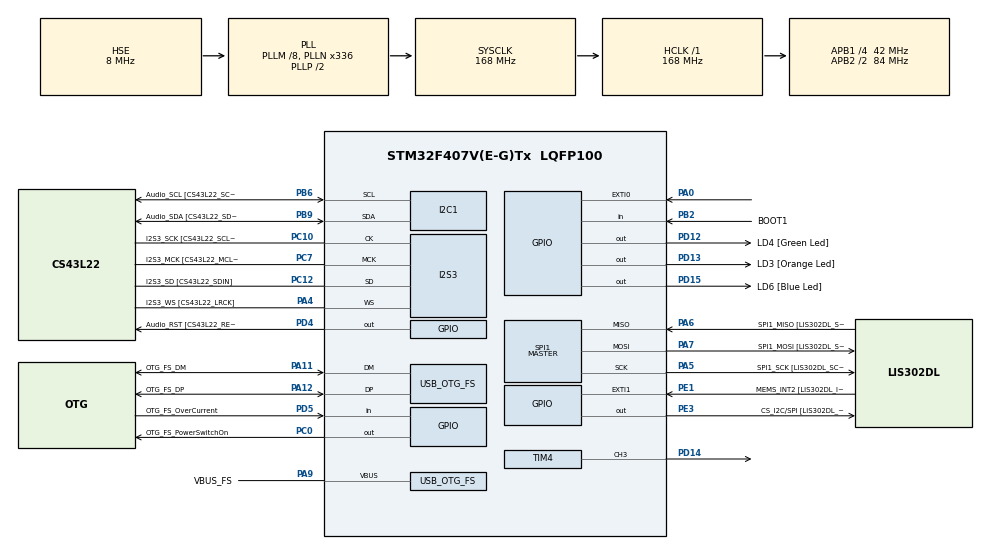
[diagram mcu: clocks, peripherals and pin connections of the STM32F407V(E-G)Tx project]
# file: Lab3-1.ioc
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I2S3.AudioFreq-Half_Duplex_Master=I2S_AUDIOFREQ_96K
I2S3.ErrorAudioFreq=-2.34 %
I2S3.ErrorAudioFreq-Half_Duplex_Master=0.8 %
I2S3.FullDuplexMode=I2S_FULLDUPLEXMODE_DISABLE
I2S3.Instance=SPI$Index
I2S3.RealAudioFreq=93.75 KHz
I2S3.RealAudioFreq-Half_Duplex_Master=96.774 KHz
I2S3.VirtualMode=I2S_MODE_MASTER
Mcu.Family=STM32F4
Mcu.Name=STM32F407V(E-G)Tx
Mcu.Package=LQFP100
NVIC.EXTI0_IRQn=true\:7\:0\:true\:false\:true\:true\:true
NVIC.OTG_FS_IRQn=true\:0\:0\:false\:false\:true\:true\:true
NVIC.PriorityGroup=NVIC_PRIORITYGROUP_3
PA0-WKUP.Signal=GPXTI0
PA10.GPIO_Label=OTG_FS_ID
PA10.GPIO_Mode=GPIO_MODE_AF_PP
PA10.GPIO_PuPd=GPIO_NOPULL
PA10.GPIO_Speed=GPIO_SPEED_FREQ_LOW
PA10.Signal=USB_OTG_FS_ID
PA11.GPIO_Label=OTG_FS_DM
PA11.GPIO_Mode=GPIO_MODE_AF_PP
PA11.GPIO_PuPd=GPIO_NOPULL
PA11.GPIO_Speed=GPIO_SPEED_FREQ_LOW
PA11.Mode=Host_Only
PA11.Signal=USB_OTG_FS_DM
PA12.GPIO_Label=OTG_FS_DP
PA12.GPIO_Mode=GPIO_MODE_AF_PP
PA12.GPIO_PuPd=GPIO_NOPULL
PA12.GPIO_Speed=GPIO_SPEED_FREQ_LOW
PA12.Mode=Host_Only
PA12.Signal=USB_OTG_FS_DP
PA13.GPIO_Label=SWDIO
PA13.Mode=Serial_Wire
PA13.Signal=SYS_JTMS-SWDIO
PA14.GPIO_Label=SWCLK
PA14.Mode=Serial_Wire
PA14.Signal=SYS_JTCK-SWCLK
PA4.GPIO_Label=I2S3_WS [CS43L22_LRCK]
PA4.GPIO_Mode=GPIO_MODE_AF_PP
PA4.GPIO_PuPd=GPIO_NOPULL
PA4.GPIO_Speed=GPIO_SPEED_FREQ_LOW
PA4.Mode=Half_Duplex_Master
PA4.Signal=I2S3_WS
PA5.GPIO_Label=SPI1_SCK [LIS302DL_SCL/SPC]
PA5.GPIO_Mode=GPIO_MODE_AF_PP
PA5.GPIO_PuPd=GPIO_NOPULL
PA5.GPIO_Speed=GPIO_SPEED_FREQ_LOW
PA5.Mode=Full_Duplex_Master
PA5.Signal=SPI1_SCK
PA6.GPIO_Label=SPI1_MISO [LIS302DL_SDO]
PA6.GPIO_Mode=GPIO_MODE_AF_PP
PA6.GPIO_PuPd=GPIO_NOPULL
PA6.GPIO_Speed=GPIO_SPEED_FREQ_LOW
PA6.Mode=Full_Duplex_Master
PA6.Signal=SPI1_MISO
PA7.GPIO_Label=SPI1_MOSI [LIS302DL_SDA/SDI/SDO]
PA7.GPIO_Mode=GPIO_MODE_AF_PP
PA7.GPIO_PuPd=GPIO_NOPULL
PA7.GPIO_Speed=GPIO_SPEED_FREQ_LOW
PA7.Mode=Full_Duplex_Master
PA7.Signal=SPI1_MOSI
PA9.GPIO_Label=VBUS_FS
PA9.GPIO_Mode=GPIO_MODE_INPUT
PA9.GPIO_PuPd=GPIO_NOPULL
PA9.Mode=Activate_VBUS
PA9.Signal=USB_OTG_FS_VBUS
PB10.GPIO_Label=CLK_IN [MP45DT02_CLK]
PB10.GPIO_Mode=GPIO_MODE_AF_PP
PB10.GPIO_PuPd=GPIO_NOPULL
PB10.GPIO_Speed=GPIO_SPEED_FREQ_LOW
PB10.Signal=I2S2_CK
PB2.GPIO_Label=BOOT1
PB2.GPIO_Mode=GPIO_MODE_INPUT
PB2.GPIO_PuPd=GPIO_NOPULL
PB2.Signal=GPIO_Input
PB3.GPIO_Label=SWO
PB3.Signal=SYS_JTDO-SWO
PB6.GPIO_Label=Audio_SCL [CS43L22_SCL]
PB6.GPIO_Mode=GPIO_MODE_AF_OD
PB6.GPIO_PuPd=GPIO_NOPULL
PB6.GPIO_Speed=GPIO_SPEED_FREQ_LOW
PB6.Mode=I2C
PB6.Signal=I2C1_SCL
PB9.GPIO_Label=Audio_SDA [CS43L22_SDA]
PB9.GPIO_Mode=GPIO_MODE_AF_OD
PB9.GPIO_PuPd=GPIO_NOPULL
PB9.GPIO_Speed=GPIO_SPEED_FREQ_LOW
PB9.Mode=I2C
PB9.Signal=I2C1_SDA
PC0.GPIO_Label=OTG_FS_PowerSwitchOn
PC0.GPIO_PuPd=GPIO_NOPULL
PC0.GPIO_Speed=GPIO_SPEED_FREQ_LOW
PC0.PinState=GPIO_PIN_SET
PC0.Signal=GPIO_Output
PC10.GPIO_Label=I2S3_SCK [CS43L22_SCLK]
PC10.GPIO_Mode=GPIO_MODE_AF_PP
PC10.GPIO_PuPd=GPIO_NOPULL
PC10.GPIO_Speed=GPIO_SPEED_FREQ_LOW
PC10.Mode=Half_Duplex_Master
PC10.Signal=I2S3_CK
PC12.GPIO_Label=I2S3_SD [CS43L22_SDIN]
PC12.GPIO_Mode=GPIO_MODE_AF_PP
PC12.GPIO_PuPd=GPIO_NOPULL
PC12.GPIO_Speed=GPIO_SPEED_FREQ_LOW
PC12.Mode=Half_Duplex_Master
PC12.Signal=I2S3_SD
PC14-OSC32_IN.GPIO_Label=PC14-OSC32_IN
PC14-OSC32_IN.Mode=LSE-External-Oscillator
PC14-OSC32_IN.Signal=RCC_OSC32_IN
PC15-OSC32_OUT.GPIO_Label=PC15-OSC32_OUT
PC15-OSC32_OUT.Mode=LSE-External-Oscillator
PC15-OSC32_OUT.Signal=RCC_OSC32_OUT
PC3.GPIO_Label=PDM_OUT [MP45DT02_DOUT]
PC3.GPIO_Mode=GPIO_MODE_AF_PP
PC3.GPIO_PuPd=GPIO_NOPULL
PC3.GPIO_Speed=GPIO_SPEED_FREQ_LOW
PC3.Signal=I2S2_SD
PC7.GPIO_Label=I2S3_MCK [CS43L22_MCLK]
PC7.GPIO_Mode=GPIO_MODE_AF_PP
PC7.GPIO_PuPd=GPIO_NOPULL
PC7.GPIO_Speed=GPIO_SPEED_FREQ_LOW
PC7.Mode=Master_Clock_Activated
PC7.Signal=I2S3_MCK
PD12.GPIO_Label=LD4 [Green Led]
PD12.GPIO_PuPd=GPIO_NOPULL
PD12.GPIO_Speed=GPIO_SPEED_FREQ_LOW
PD12.Signal=GPIO_Output
PD13.GPIO_Label=LD3 [Orange Led]
PD13.GPIO_PuPd=GPIO_NOPULL
PD13.GPIO_Speed=GPIO_SPEED_FREQ_LOW
PD13.Signal=GPIO_Output
PD14.Signal=S_TIM4_CH3
PD15.GPIO_Label=LD6 [Blue Led]
PD15.GPIO_PuPd=GPIO_NOPULL
PD15.GPIO_Speed=GPIO_SPEED_FREQ_LOW
PD15.Signal=GPIO_Output
PD4.GPIO_Label=Audio_RST [CS43L22_RESET]
PD4.GPIO_PuPd=GPIO_NOPULL
PD4.GPIO_Speed=GPIO_SPEED_FREQ_LOW
PD4.Signal=GPIO_Output
PD5.GPIO_Label=OTG_FS_OverCurrent
PD5.GPIO_Mode=GPIO_MODE_INPUT
PD5.GPIO_PuPd=GPIO_NOPULL
PD5.Signal=GPIO_Input
PE1.GPIO_Label=MEMS_INT2 [LIS302DL_INT2]
PE1.GPIO_ModeDefaultEXTI=GPIO_MODE_EVT_RISING
PE1.GPIO_PuPd=GPIO_NOPULL
PE1.Signal=GPXTI1
PE3.GPIO_Label=CS_I2C/SPI [LIS302DL_CS_I2C/SPI]
PE3.GPIO_PuPd=GPIO_NOPULL
PE3.GPIO_Speed=GPIO_SPEED_FREQ_LOW
PE3.Signal=GPIO_Output
PH0-OSC_IN.GPIO_Label=PH0-OSC_IN
PH0-OSC_IN.Mode=HSE-External-Oscillator
PH0-OSC_IN.Signal=RCC_OSC_IN
PH1-OSC_OUT.GPIO_Label=PH1-OSC_OUT
PH1-OSC_OUT.Mode=HSE-External-Oscillator
PH1-OSC_OUT.Signal=RCC_OSC_OUT
ProjectManager.HeapSize=0x200
ProjectManager.StackSize=0x400
ProjectManager.TargetToolchain=STM32CubeIDE
RCC.48MHZClocksFreq_Value=48000000
RCC.AHBFreq_Value=168000000
RCC.APB1CLKDivider=RCC_HCLK_DIV4
RCC.APB1Freq_Value=42000000
RCC.APB1TimFreq_Value=84000000
RCC.APB2CLKDivider=RCC_HCLK_DIV2
RCC.APB2Freq_Value=84000000
RCC.APB2TimFreq_Value=168000000
RCC.CortexFreq_Value=168000000
RCC.HCLKFreq_Value=168000000
RCC.HSE_VALUE=8000000
RCC.HSI_VALUE=16000000
RCC.PLLM=8
RCC.PLLN=336
RCC.PLLQ=7
RCC.SYSCLKFreq_VALUE=168000000
RCC.SYSCLKSource=RCC_SYSCLKSOURCE_PLLCLK
RCC.VCOOutputFreq_Value=336000000
SH.S_TIM4_CH3.0=TIM4_CH3,PWM Generation3 CH3
SPI1.BaudRatePrescaler-Full_Duplex_Master=SPI_BAUDRATEPRESCALER_2
SPI1.CalculateBaudRate-Full_Duplex_Master=42.0 MBits/s
SPI1.Direction=SPI_DIRECTION_2LINES
SPI1.Mode=SPI_MODE_MASTER
SPI1.Mode-Full_Duplex_Master=SPI_MODE_MASTER
SPI1.VirtualType=VM_MASTER
TIM4.AutoReloadPreload=TIM_AUTORELOAD_PRELOAD_ENABLE
TIM4.Channel-PWM\ Generation3\ CH3=TIM_CHANNEL_3
TIM4.Period=55999
TIM4.Prescaler=5999
TIM4.Pulse-PWM\ Generation3\ CH3=30000
USB_HOST.BSP.number=1
USB_HOST.USBH_HandleTypeDef-CDC_FS=hUsbHostFS
USB_HOST.VirtualModeFS=Cdc
USB_HOST0.BSP.STBoard=false
USB_HOST0.BSP.api=Unknown
USB_HOST0.BSP.i2caddr=0
USB_HOST0.BSP.i2creg=0
USB_HOST0.BSP.instance=PC0
USB_HOST0.BSP.ip=GPIO
USB_HOST0.BSP.mode=Output
USB_HOST0.BSP.name=Drive_VBUS_FS
USB_HOST0.BSP.solution=PC0
USB_OTG_FS.VirtualMode=Host_Only
USB_OTG_FS.phy_itface=HCD_PHY_EMBEDDED
VP_TIM4_VS_ClockSourceINT.Mode=Internal
VP_USB_HOST_VS_USB_HOST_CDC_FS.Mode=CDC_FS
board=STM32F4DISCOVERY

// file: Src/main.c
/* USER CODE BEGIN Header */
/**
  ******************************************************************************
  * @file           : main.c
  * @brief          : Main program body
  ******************************************************************************
  * @attention
  *
  * <h2><center>&copy; Copyright (c) 2019 STMicroelectronics.
  * All rights reserved.</center></h2>
  *
  * This software component is licensed by ST under Ultimate Liberty license
  * SLA0044, the "License"; You may not use this file except in compliance with
  * the License. You may obtain a copy of the License at:
  *                             www.st.com/SLA0044
  *
  ******************************************************************************
  */
/* USER CODE END Header */

#include "main.h"
#include "usb_host.h"

I2C_HandleTypeDef hi2c1;

I2S_HandleTypeDef hi2s3;

SPI_HandleTypeDef hspi1;

TIM_HandleTypeDef htim4;

void SystemClock_Config(void);
static void MX_GPIO_Init(void);
static void MX_I2C1_Init(void);
static void MX_I2S3_Init(void);
static void MX_SPI1_Init(void);
static void MX_TIM4_Init(void);
void MX_USB_HOST_Process(void);

/* USER CODE BEGIN 0 */
void HAL_GPIO_EXTI_Callback(uint16_t GPIO_Pin)
{
  /* Prevent unused argument(s) compilation warning */
  UNUSED(GPIO_Pin);
  /* NOTE: This function Should not be modified, when the callback is needed,
           the HAL_GPIO_EXTI_Callback could be implemented in the user file
   */
  HAL_GPIO_TogglePin(GPIOD, GPIO_PIN_13);

  switch(TIM4->ARR){
  case 5599:
	  TIM4->ARR = 27999;
	  break;
  case 27999:
	  TIM4->ARR = 139999;
  	  break;
  case 139999:
	  TIM4->ARR = 5599;
	  break;
  default:
	  TIM4->ARR = 5599;
	  break;
  }

  TIM4->CNT = 0;
  HAL_Delay(100);
  __HAL_GPIO_EXTI_CLEAR_IT(GPIO_Pin);
  //HAL_TIM_PWM_Start(&htim4, TIM_CHANNEL_3);

//  for(int i=0; i<500; i++){
//
//  }

}
/* USER CODE END 0 */

int main(void)
{

  /* MCU Configuration--------------------------------------------------------*/

  /* Reset of all peripherals, Initializes the Flash interface and the Systick. */
  HAL_Init();

  /* Configure the system clock */
  SystemClock_Config();

  /* Initialize all configured peripherals */
  MX_GPIO_Init();
  MX_I2C1_Init();
  MX_I2S3_Init();
  MX_SPI1_Init();
  MX_USB_HOST_Init();
  MX_TIM4_Init();
  /* USER CODE BEGIN 2 */
//  HAL_TIM_Base_Start_IT(&htim4);
  HAL_TIM_PWM_Start(&htim4, TIM_CHANNEL_3);
  /* USER CODE END 2 */

  /* Infinite loop */
  while (1)
  {
    MX_USB_HOST_Process();

  }
}

void SystemClock_Config(void)
{
  RCC_OscInitTypeDef RCC_OscInitStruct = {0};
  RCC_ClkInitTypeDef RCC_ClkInitStruct = {0};
  RCC_PeriphCLKInitTypeDef PeriphClkInitStruct = {0};

  /** Configure the main internal regulator output voltage
  */
  __HAL_RCC_PWR_CLK_ENABLE();
  __HAL_PWR_VOLTAGESCALING_CONFIG(PWR_REGULATOR_VOLTAGE_SCALE1);
  /** Initializes the CPU, AHB and APB busses clocks
  */
  RCC_OscInitStruct.OscillatorType = RCC_OSCILLATORTYPE_HSE;
  RCC_OscInitStruct.HSEState = RCC_HSE_ON;
  RCC_OscInitStruct.PLL.PLLState = RCC_PLL_ON;
  RCC_OscInitStruct.PLL.PLLSource = RCC_PLLSOURCE_HSE;
  RCC_OscInitStruct.PLL.PLLM = 8;
  RCC_OscInitStruct.PLL.PLLN = 336;
  RCC_OscInitStruct.PLL.PLLP = RCC_PLLP_DIV2;
  RCC_OscInitStruct.PLL.PLLQ = 7;
  if (HAL_RCC_OscConfig(&RCC_OscInitStruct) != HAL_OK)
  {
    Error_Handler();
  }
  /** Initializes the CPU, AHB and APB busses clocks
  */
  RCC_ClkInitStruct.ClockType = RCC_CLOCKTYPE_HCLK|RCC_CLOCKTYPE_SYSCLK
                              |RCC_CLOCKTYPE_PCLK1|RCC_CLOCKTYPE_PCLK2;
  RCC_ClkInitStruct.SYSCLKSource = RCC_SYSCLKSOURCE_PLLCLK;
  RCC_ClkInitStruct.AHBCLKDivider = RCC_SYSCLK_DIV1;
  RCC_ClkInitStruct.APB1CLKDivider = RCC_HCLK_DIV4;
  RCC_ClkInitStruct.APB2CLKDivider = RCC_HCLK_DIV2;

  if (HAL_RCC_ClockConfig(&RCC_ClkInitStruct, FLASH_LATENCY_5) != HAL_OK)
  {
    Error_Handler();
  }
  PeriphClkInitStruct.PeriphClockSelection = RCC_PERIPHCLK_I2S;
  PeriphClkInitStruct.PLLI2S.PLLI2SN = 192;
  PeriphClkInitStruct.PLLI2S.PLLI2SR = 2;
  if (HAL_RCCEx_PeriphCLKConfig(&PeriphClkInitStruct) != HAL_OK)
  {
    Error_Handler();
  }
}

static void MX_I2C1_Init(void)
{

  hi2c1.Instance = I2C1;
  hi2c1.Init.ClockSpeed = 100000;
  hi2c1.Init.DutyCycle = I2C_DUTYCYCLE_2;
  hi2c1.Init.OwnAddress1 = 0;
  hi2c1.Init.AddressingMode = I2C_ADDRESSINGMODE_7BIT;
  hi2c1.Init.DualAddressMode = I2C_DUALADDRESS_DISABLE;
  hi2c1.Init.OwnAddress2 = 0;
  hi2c1.Init.GeneralCallMode = I2C_GENERALCALL_DISABLE;
  hi2c1.Init.NoStretchMode = I2C_NOSTRETCH_DISABLE;
  if (HAL_I2C_Init(&hi2c1) != HAL_OK)
  {
    Error_Handler();
  }

}

static void MX_I2S3_Init(void)
{

  hi2s3.Instance = SPI3;
  hi2s3.Init.Mode = I2S_MODE_MASTER_TX;
  hi2s3.Init.Standard = I2S_STANDARD_PHILIPS;
  hi2s3.Init.DataFormat = I2S_DATAFORMAT_16B;
  hi2s3.Init.MCLKOutput = I2S_MCLKOUTPUT_ENABLE;
  hi2s3.Init.AudioFreq = I2S_AUDIOFREQ_96K;
  hi2s3.Init.CPOL = I2S_CPOL_LOW;
  hi2s3.Init.ClockSource = I2S_CLOCK_PLL;
  hi2s3.Init.FullDuplexMode = I2S_FULLDUPLEXMODE_DISABLE;
  if (HAL_I2S_Init(&hi2s3) != HAL_OK)
  {
    Error_Handler();
  }

}

static void MX_SPI1_Init(void)
{

  /* SPI1 parameter configuration*/
  hspi1.Instance = SPI1;
  hspi1.Init.Mode = SPI_MODE_MASTER;
  hspi1.Init.Direction = SPI_DIRECTION_2LINES;
  hspi1.Init.DataSize = SPI_DATASIZE_8BIT;
  hspi1.Init.CLKPolarity = SPI_POLARITY_LOW;
  hspi1.Init.CLKPhase = SPI_PHASE_1EDGE;
  hspi1.Init.NSS = SPI_NSS_SOFT;
  hspi1.Init.BaudRatePrescaler = SPI_BAUDRATEPRESCALER_2;
  hspi1.Init.FirstBit = SPI_FIRSTBIT_MSB;
  hspi1.Init.TIMode = SPI_TIMODE_DISABLE;
  hspi1.Init.CRCCalculation = SPI_CRCCALCULATION_DISABLE;
  hspi1.Init.CRCPolynomial = 10;
  if (HAL_SPI_Init(&hspi1) != HAL_OK)
  {
    Error_Handler();
  }

}

static void MX_TIM4_Init(void)
{

  TIM_ClockConfigTypeDef sClockSourceConfig = {0};
  TIM_MasterConfigTypeDef sMasterConfig = {0};
  TIM_OC_InitTypeDef sConfigOC = {0};

  htim4.Instance = TIM4;
  htim4.Init.Prescaler = 5999;
  htim4.Init.CounterMode = TIM_COUNTERMODE_UP;
  htim4.Init.Period = 55999;
  htim4.Init.ClockDivision = TIM_CLOCKDIVISION_DIV1;
  htim4.Init.AutoReloadPreload = TIM_AUTORELOAD_PRELOAD_ENABLE;
  if (HAL_TIM_Base_Init(&htim4) != HAL_OK)
  {
    Error_Handler();
  }
  sClockSourceConfig.ClockSource = TIM_CLOCKSOURCE_INTERNAL;
  if (HAL_TIM_ConfigClockSource(&htim4, &sClockSourceConfig) != HAL_OK)
  {
    Error_Handler();
  }
  if (HAL_TIM_PWM_Init(&htim4) != HAL_OK)
  {
    Error_Handler();
  }
  sMasterConfig.MasterOutputTrigger = TIM_TRGO_RESET;
  sMasterConfig.MasterSlaveMode = TIM_MASTERSLAVEMODE_DISABLE;
  if (HAL_TIMEx_MasterConfigSynchronization(&htim4, &sMasterConfig) != HAL_OK)
  {
    Error_Handler();
  }
  sConfigOC.OCMode = TIM_OCMODE_PWM1;
  sConfigOC.Pulse = 30000;
  sConfigOC.OCPolarity = TIM_OCPOLARITY_HIGH;
  sConfigOC.OCFastMode = TIM_OCFAST_DISABLE;
  if (HAL_TIM_PWM_ConfigChannel(&htim4, &sConfigOC, TIM_CHANNEL_3) != HAL_OK)
  {
    Error_Handler();
  }
  HAL_TIM_MspPostInit(&htim4);

}

static void MX_GPIO_Init(void)
{
  GPIO_InitTypeDef GPIO_InitStruct = {0};

  /* GPIO Ports Clock Enable */
  __HAL_RCC_GPIOE_CLK_ENABLE();
  __HAL_RCC_GPIOC_CLK_ENABLE();
  __HAL_RCC_GPIOH_CLK_ENABLE();
  __HAL_RCC_GPIOA_CLK_ENABLE();
  __HAL_RCC_GPIOB_CLK_ENABLE();
  __HAL_RCC_GPIOD_CLK_ENABLE();

  /*Configure GPIO pin Output Level */
  HAL_GPIO_WritePin(CS_I2C_SPI_GPIO_Port, CS_I2C_SPI_Pin, GPIO_PIN_RESET);

  /*Configure GPIO pin Output Level */
  HAL_GPIO_WritePin(OTG_FS_PowerSwitchOn_GPIO_Port, OTG_FS_PowerSwitchOn_Pin, GPIO_PIN_SET);

  /*Configure GPIO pin Output Level */
  HAL_GPIO_WritePin(GPIOD, LD4_Pin|LD3_Pin|LD6_Pin|Audio_RST_Pin, GPIO_PIN_RESET);

  /*Configure GPIO pin : CS_I2C_SPI_Pin */
  GPIO_InitStruct.Pin = CS_I2C_SPI_Pin;
  GPIO_InitStruct.Mode = GPIO_MODE_OUTPUT_PP;
  GPIO_InitStruct.Pull = GPIO_NOPULL;
  GPIO_InitStruct.Speed = GPIO_SPEED_FREQ_LOW;
  HAL_GPIO_Init(CS_I2C_SPI_GPIO_Port, &GPIO_InitStruct);

  /*Configure GPIO pin : OTG_FS_PowerSwitchOn_Pin */
  GPIO_InitStruct.Pin = OTG_FS_PowerSwitchOn_Pin;
  GPIO_InitStruct.Mode = GPIO_MODE_OUTPUT_PP;
  GPIO_InitStruct.Pull = GPIO_NOPULL;
  GPIO_InitStruct.Speed = GPIO_SPEED_FREQ_LOW;
  HAL_GPIO_Init(OTG_FS_PowerSwitchOn_GPIO_Port, &GPIO_InitStruct);

  /*Configure GPIO pin : PDM_OUT_Pin */
  GPIO_InitStruct.Pin = PDM_OUT_Pin;
  GPIO_InitStruct.Mode = GPIO_MODE_AF_PP;
  GPIO_InitStruct.Pull = GPIO_NOPULL;
  GPIO_InitStruct.Speed = GPIO_SPEED_FREQ_LOW;
  GPIO_InitStruct.Alternate = GPIO_AF5_SPI2;
  HAL_GPIO_Init(PDM_OUT_GPIO_Port, &GPIO_InitStruct);

  /*Configure GPIO pin : PA0 */
  GPIO_InitStruct.Pin = GPIO_PIN_0;
  GPIO_InitStruct.Mode = GPIO_MODE_IT_RISING;
  GPIO_InitStruct.Pull = GPIO_NOPULL;
  HAL_GPIO_Init(GPIOA, &GPIO_InitStruct);

  /*Configure GPIO pin : BOOT1_Pin */
  GPIO_InitStruct.Pin = BOOT1_Pin;
  GPIO_InitStruct.Mode = GPIO_MODE_INPUT;
  GPIO_InitStruct.Pull = GPIO_NOPULL;
  HAL_GPIO_Init(BOOT1_GPIO_Port, &GPIO_InitStruct);

  /*Configure GPIO pin : CLK_IN_Pin */
  GPIO_InitStruct.Pin = CLK_IN_Pin;
  GPIO_InitStruct.Mode = GPIO_MODE_AF_PP;
  GPIO_InitStruct.Pull = GPIO_NOPULL;
  GPIO_InitStruct.Speed = GPIO_SPEED_FREQ_LOW;
  GPIO_InitStruct.Alternate = GPIO_AF5_SPI2;
  HAL_GPIO_Init(CLK_IN_GPIO_Port, &GPIO_InitStruct);

  /*Configure GPIO pins : LD4_Pin LD3_Pin LD6_Pin Audio_RST_Pin */
  GPIO_InitStruct.Pin = LD4_Pin|LD3_Pin|LD6_Pin|Audio_RST_Pin;
  GPIO_InitStruct.Mode = GPIO_MODE_OUTPUT_PP;
  GPIO_InitStruct.Pull = GPIO_NOPULL;
  GPIO_InitStruct.Speed = GPIO_SPEED_FREQ_LOW;
  HAL_GPIO_Init(GPIOD, &GPIO_InitStruct);

  /*Configure GPIO pin : OTG_FS_OverCurrent_Pin */
  GPIO_InitStruct.Pin = OTG_FS_OverCurrent_Pin;
  GPIO_InitStruct.Mode = GPIO_MODE_INPUT;
  GPIO_InitStruct.Pull = GPIO_NOPULL;
  HAL_GPIO_Init(OTG_FS_OverCurrent_GPIO_Port, &GPIO_InitStruct);

  /*Configure GPIO pin : MEMS_INT2_Pin */
  GPIO_InitStruct.Pin = MEMS_INT2_Pin;
  GPIO_InitStruct.Mode = GPIO_MODE_EVT_RISING;
  GPIO_InitStruct.Pull = GPIO_NOPULL;
  HAL_GPIO_Init(MEMS_INT2_GPIO_Port, &GPIO_InitStruct);

  /* EXTI interrupt init*/
  HAL_NVIC_SetPriority(EXTI0_IRQn, 7, 0);
  HAL_NVIC_EnableIRQ(EXTI0_IRQn);

}

void Error_Handler(void)
{
}

/************************ (C) COPYRIGHT STMicroelectronics *****END OF FILE****/
